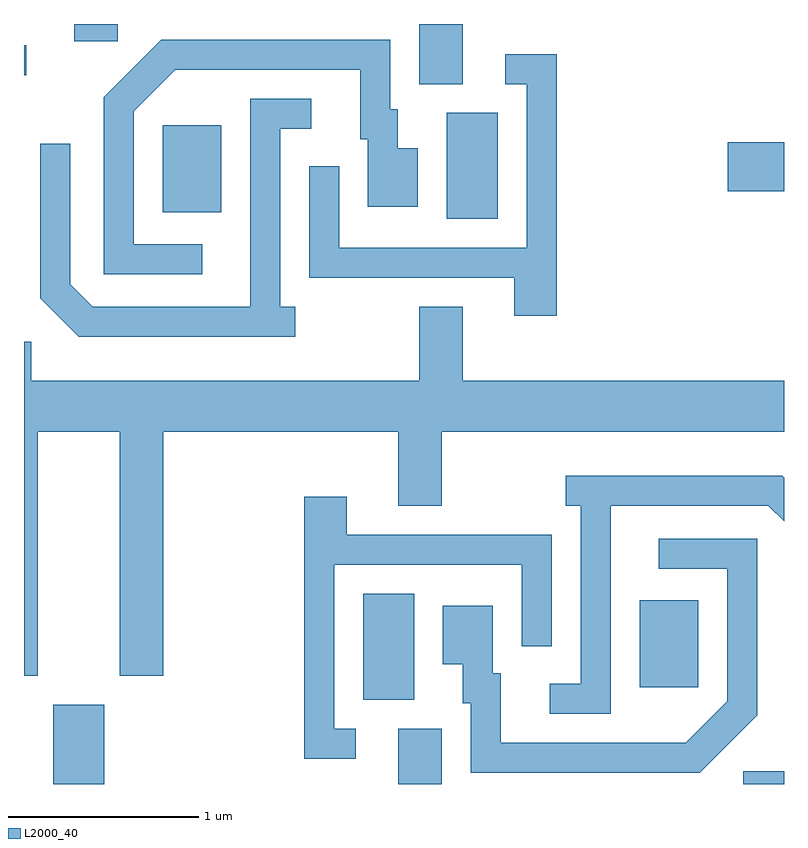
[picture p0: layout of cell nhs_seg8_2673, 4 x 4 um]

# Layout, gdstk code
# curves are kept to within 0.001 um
import gdstk
lib = gdstk.Library(unit=1e-6, precision=1e-09)
def R(c, l, rs):  # rectangles x0, y0, x1, y1
    for r in rs: c.add(gdstk.rectangle(r[:2], r[2:], *l))
def P(c, l, *ps):  # polygons
    for p in ps: c.add(gdstk.Polygon(p, *l))
L2000_40 = (2000, 40)

nhs_seg8_2673 = lib.new_cell('nhs_seg8_2673')
R(nhs_seg8_2673, L2000_40, [(265.766,1832.342,266.034,1832.759), (267.581,1832.342,267.809,1832.634), (269.396,1832.342,269.611,1832.409), (267.396,1832.786,267.664,1833.344), (268.851,1832.851,269.159,1833.309), (267.836,1835.316,268.104,1835.874), (266.341,1835.351,266.649,1835.809), (269.316,1835.461,269.611,1835.719), (267.691,1836.026,267.919,1836.342), (265.611,1836.071,265.623,1836.229), (265.876,1836.251,266.104,1836.342)])
P(nhs_seg8_2673, L2000_40, [(266.548,1835.184),(266.189,1835.184),(266.189,1835.884),(266.407,1836.101),(267.381,1836.101),(267.381,1835.736),(267.421,1835.736),(267.421,1835.381),(267.684,1835.381),(267.684,1835.689),(267.579,1835.689),(267.579,1835.894),(267.539,1835.894),(267.539,1836.259),(266.334,1836.259),(266.031,1835.957),(266.031,1835.026),(266.548,1835.026)],
  [(268.414,1836.184),(268.143,1836.184),(268.143,1836.026),(268.256,1836.026),(268.256,1835.164),(267.269,1835.164),(267.269,1835.593),(267.111,1835.593),(267.111,1835.006),(268.191,1835.006),(268.191,1834.806),(268.414,1834.806)],
  [(267.038,1834.854),(266.959,1834.854),(266.959,1835.791),(267.123,1835.791),(267.123,1835.949),(266.801,1835.949),(266.801,1834.854),(265.972,1834.854),(265.854,1834.972),(265.854,1835.713),(265.696,1835.713),(265.696,1834.899),(265.899,1834.696),(267.038,1834.696)],
  [(265.684,1834.196),(266.116,1834.196),(266.116,1832.911),(266.344,1832.911),(266.344,1834.196),(267.581,1834.196),(267.581,1833.806),(267.809,1833.806),(267.809,1834.196),(269.611,1834.196),(269.611,1834.464),(267.919,1834.464),(267.919,1834.854),(267.691,1834.854),(267.691,1834.464),(265.649,1834.464),(265.649,1834.669),(265.611,1834.669),(265.611,1832.911),(265.684,1832.911)],
  [(268.699,1833.806),(269.529,1833.806),(269.611,1833.724),(269.611,1833.955),(269.602,1833.964),(268.463,1833.964),(268.463,1833.806),(268.541,1833.806),(268.541,1832.869),(268.378,1832.869),(268.378,1832.711),(268.699,1832.711)],
  [(267.358,1832.634),(267.244,1832.634),(267.244,1833.496),(268.231,1833.496),(268.231,1833.068),(268.389,1833.068),(268.389,1833.654),(267.309,1833.654),(267.309,1833.854),(267.086,1833.854),(267.086,1832.476),(267.358,1832.476)],
  [(269.469,1832.704),(269.469,1833.634),(268.953,1833.634),(268.953,1833.476),(269.311,1833.476),(269.311,1832.777),(269.094,1832.559),(268.119,1832.559),(268.119,1832.924),(268.079,1832.924),(268.079,1833.279),(267.816,1833.279),(267.816,1832.971),(267.921,1832.971),(267.921,1832.766),(267.961,1832.766),(267.961,1832.401),(269.167,1832.401)])

lib.write_gds('nhs_seg8_2673.gds')
